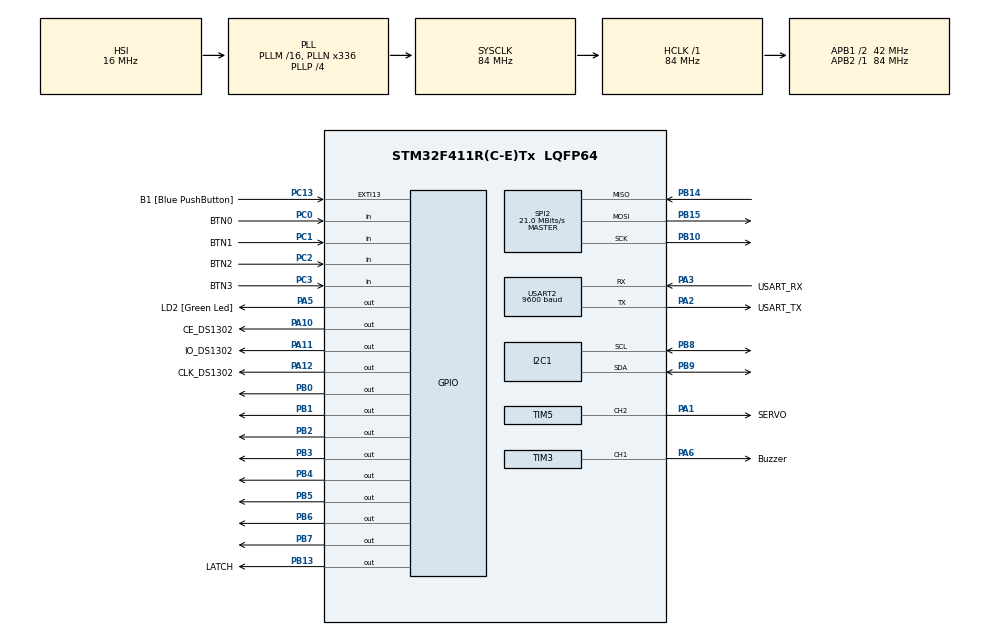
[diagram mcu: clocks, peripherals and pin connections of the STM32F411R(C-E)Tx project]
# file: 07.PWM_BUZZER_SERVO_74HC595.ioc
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FREERTOS.Tasks01=defaultTask,24,128,StartDefaultTask,Default,NULL,Dynamic,NULL,NULL;myTask02,8,128,StartTask02,Default,NULL,Dynamic,NULL,NULL;myTask03,8,128,StartTask03,Default,NULL,Dynamic,NULL,NULL
FREERTOS.configUSE_NEWLIB_REENTRANT=1
Mcu.Family=STM32F4
Mcu.Name=STM32F411R(C-E)Tx
Mcu.Package=LQFP64
NVIC.PriorityGroup=NVIC_PRIORITYGROUP_4
NVIC.TIM1_TRG_COM_TIM11_IRQn=true\:5\:0\:false\:false\:true\:true\:true\:true
NVIC.TIM1_UP_TIM10_IRQn=true\:15\:0\:false\:false\:true\:false\:false\:true
NVIC.TIM3_IRQn=true\:5\:0\:false\:false\:true\:true\:true\:true
NVIC.TIM5_IRQn=true\:5\:0\:false\:false\:true\:true\:true\:true
NVIC.TimeBase=TIM1_UP_TIM10_IRQn
NVIC.TimeBaseIP=TIM10
NVIC.USART2_IRQn=true\:5\:0\:false\:false\:true\:true\:true\:true
PA1.GPIO_Label=SERVO
PA1.Signal=S_TIM5_CH2
PA10.GPIO_Label=CE_DS1302
PA10.Signal=GPIO_Output
PA11.GPIO_Label=IO_DS1302
PA11.Signal=GPIO_Output
PA12.GPIO_Label=CLK_DS1302
PA12.Signal=GPIO_Output
PA13.GPIO_Label=TMS
PA13.Mode=Serial_Wire
PA13.Signal=SYS_JTMS-SWDIO
PA14.GPIO_Label=TCK
PA14.Mode=Serial_Wire
PA14.Signal=SYS_JTCK-SWCLK
PA2.GPIO_Label=USART_TX
PA2.Mode=Asynchronous
PA2.Signal=USART2_TX
PA3.GPIO_Label=USART_RX
PA3.Mode=Asynchronous
PA3.Signal=USART2_RX
PA5.GPIO_Label=LD2 [Green Led]
PA5.Signal=GPIO_Output
PA6.GPIO_Label=Buzzer
PA6.Signal=S_TIM3_CH1
PB0.Signal=GPIO_Output
PB1.Signal=GPIO_Output
PB10.Mode=Full_Duplex_Master
PB10.Signal=SPI2_SCK
PB13.GPIO_Label=LATCH
PB13.Signal=GPIO_Output
PB14.Mode=Full_Duplex_Master
PB14.Signal=SPI2_MISO
PB15.Mode=Full_Duplex_Master
PB15.Signal=SPI2_MOSI
PB2.Signal=GPIO_Output
PB3.Signal=GPIO_Output
PB4.Signal=GPIO_Output
PB5.Signal=GPIO_Output
PB6.Signal=GPIO_Output
PB7.Signal=GPIO_Output
PB8.Mode=I2C
PB8.Signal=I2C1_SCL
PB9.Mode=I2C
PB9.Signal=I2C1_SDA
PC0.GPIO_Label=BTN0
PC0.Signal=GPIO_Input
PC1.GPIO_Label=BTN1
PC1.Signal=GPIO_Input
PC13-ANTI_TAMP.GPIO_Label=B1 [Blue PushButton]
PC13-ANTI_TAMP.GPIO_ModeDefaultEXTI=GPIO_MODE_IT_FALLING
PC13-ANTI_TAMP.Signal=GPXTI13
PC14-OSC32_IN.Mode=LSE-External-Oscillator
PC14-OSC32_IN.Signal=RCC_OSC32_IN
PC15-OSC32_OUT.Mode=LSE-External-Oscillator
PC15-OSC32_OUT.Signal=RCC_OSC32_OUT
PC2.GPIO_Label=BTN2
PC2.Signal=GPIO_Input
PC3.GPIO_Label=BTN3
PC3.Signal=GPIO_Input
PH0\ -\ OSC_IN.Mode=HSE-External-Clock-Source
PH0\ -\ OSC_IN.Signal=RCC_OSC_IN
PH1\ -\ OSC_OUT.Mode=HSE-External-Clock-Source
PH1\ -\ OSC_OUT.Signal=RCC_OSC_OUT
ProjectManager.HeapSize=0x200
ProjectManager.StackSize=0x400
ProjectManager.TargetToolchain=STM32CubeIDE
RCC.48MHZClocksFreq_Value=84000000
RCC.AHBFreq_Value=84000000
RCC.APB1CLKDivider=RCC_HCLK_DIV2
RCC.APB1Freq_Value=42000000
RCC.APB1TimFreq_Value=84000000
RCC.APB2Freq_Value=84000000
RCC.APB2TimFreq_Value=84000000
RCC.CortexFreq_Value=84000000
RCC.FLatency-AdvancedSettings=FLASH_LATENCY_2
RCC.HCLKFreq_Value=84000000
RCC.HSE_VALUE=8000000
RCC.HSI_VALUE=16000000
RCC.PLLN=336
RCC.PLLP=RCC_PLLP_DIV4
RCC.SYSCLKFreq_VALUE=84000000
RCC.SYSCLKSource=RCC_SYSCLKSOURCE_PLLCLK
RCC.VCOOutputFreq_Value=336000000
SH.S_TIM3_CH1.0=TIM3_CH1,PWM Generation1 CH1
SH.S_TIM5_CH2.0=TIM5_CH2,PWM Generation2 CH2
SPI2.CalculateBaudRate=21.0 MBits/s
SPI2.Direction=SPI_DIRECTION_2LINES
SPI2.Mode=SPI_MODE_MASTER
SPI2.VirtualType=VM_MASTER
TIM11.Period=1000-1
TIM11.Prescaler=84-1
TIM2.Prescaler=84-1
TIM3.Channel-PWM\ Generation1\ CH1=TIM_CHANNEL_1
TIM3.Period=400-1
TIM3.Prescaler=52.5-1
TIM3.Pulse-PWM\ Generation1\ CH1=200-1
TIM5.Channel-PWM\ Generation2\ CH2=TIM_CHANNEL_2
TIM5.Period=1000-1
TIM5.Prescaler=1680-1
USART2.BaudRate=9600
USART2.VirtualMode=VM_ASYNC
VP_FREERTOS_VS_CMSIS_V2.Mode=CMSIS_V2
VP_SYS_VS_tim10.Mode=TIM10
VP_TIM11_VS_ClockSourceINT.Mode=Enable_Timer
VP_TIM2_VS_ClockSourceINT.Mode=Internal
VP_TIM3_VS_ClockSourceINT.Mode=Internal
VP_TIM5_VS_ClockSourceINT.Mode=Internal
board=NUCLEO-F411RE

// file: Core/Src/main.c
/* USER CODE BEGIN Header */
/**
  ******************************************************************************
  * @file           : main.c
  * @brief          : Main program body
  ******************************************************************************
  * @attention
  *
  * <h2><center>&copy; Copyright (c) 2025 STMicroelectronics.
  * All rights reserved.</center></h2>
  *
  * This software component is licensed by ST under BSD 3-Clause license,
  * the "License"; You may not use this file except in compliance with the
  * License. You may obtain a copy of the License at:
  *                        opensource.org/licenses/BSD-3-Clause
  *
  ******************************************************************************
  */
/* USER CODE END Header */
#include "main.h"
#include "cmsis_os.h"

/* USER CODE BEGIN Includes */
#include "extern.h"
/* USER CODE END Includes */

I2C_HandleTypeDef hi2c1;

SPI_HandleTypeDef hspi2;

TIM_HandleTypeDef htim2;
TIM_HandleTypeDef htim3;
TIM_HandleTypeDef htim5;
TIM_HandleTypeDef htim11;

UART_HandleTypeDef huart2;

/* Definitions for defaultTask */
osThreadId_t defaultTaskHandle;
const osThreadAttr_t defaultTask_attributes = {
  .name = "defaultTask",
  .stack_size = 128 * 4,
  .priority = (osPriority_t) osPriorityNormal,
};
/* Definitions for myTask02 */
osThreadId_t myTask02Handle;
const osThreadAttr_t myTask02_attributes = {
  .name = "myTask02",
  .stack_size = 128 * 4,
  .priority = (osPriority_t) osPriorityLow,
};
/* Definitions for myTask03 */
osThreadId_t myTask03Handle;
const osThreadAttr_t myTask03_attributes = {
  .name = "myTask03",
  .stack_size = 128 * 4,
  .priority = (osPriority_t) osPriorityLow,
};
/* USER CODE BEGIN PV */
uint8_t rx_data; //uart2 rx byte
volatile int TIM11_1ms_counter = 0;
volatile int TIM11_1ms_counter2 = 0;
/* USER CODE END PV */

void SystemClock_Config(void);
static void MX_GPIO_Init(void);
static void MX_USART2_UART_Init(void);
static void MX_TIM11_Init(void);
static void MX_TIM2_Init(void);
static void MX_I2C1_Init(void);
static void MX_TIM3_Init(void);
static void MX_TIM5_Init(void);
static void MX_SPI2_Init(void);
void StartDefaultTask(void *argument);
void StartTask02(void *argument);
void StartTask03(void *argument);

/* USER CODE BEGIN 0 */

#ifdef __GNUC__    // Add for printf
/* With GCC, small printf (option LD Linker->Libraries->Small printf
   set to 'Yes') calls __io_putchar() */
#define PUTCHAR_PROTOTYPE int __io_putchar(int ch)
#else
#define PUTCHAR_PROTOTYPE int fputc(int ch, FILE *f)
#endif /* __GNUC__ */
/**
  * @brief  Retargets the C library printf function to the USART.
  * @param  None
  * @retval None
  */
PUTCHAR_PROTOTYPE   // Add for printf
{
  /* Place your implementation of fputc here */
  /* e.g. write a character to the USART3 and Loop until the end of transmission */
  HAL_UART_Transmit(&huart2, (uint8_t *)&ch, 1, 0xFFFF);

  return ch;
}
/* USER CODE END 0 */

int main(void)
{

  /* MCU Configuration--------------------------------------------------------*/

  /* Reset of all peripherals, Initializes the Flash interface and the Systick. */
  HAL_Init();

  /* Configure the system clock */
  SystemClock_Config();

  /* Initialize all configured peripherals */
  MX_GPIO_Init();
  MX_USART2_UART_Init();
  MX_TIM11_Init();
  MX_TIM2_Init();
  MX_I2C1_Init();
  MX_TIM3_Init();
  MX_TIM5_Init();
  MX_SPI2_Init();
  /* USER CODE BEGIN 2 */
  HAL_UART_Receive_IT(&huart2, &rx_data, 1);
  HAL_TIM_Base_Start_IT(&htim11);
  HAL_TIM_Base_Start_IT(&htim2);  //for make delay_us
  led_main();
  //i2c_lcd_main();
  //ds1302_main();
  //buzzer_main();
  //servo_motor_main();
  /* USER CODE END 2 */

  /* Init scheduler */
  osKernelInitialize();

  /* Create the thread(s) */
  /* creation of defaultTask */
  defaultTaskHandle = osThreadNew(StartDefaultTask, NULL, &defaultTask_attributes);

  /* creation of myTask02 */
  myTask02Handle = osThreadNew(StartTask02, NULL, &myTask02_attributes);

  /* creation of myTask03 */
  myTask03Handle = osThreadNew(StartTask03, NULL, &myTask03_attributes);

  /* Start scheduler */
  osKernelStart();

  /* We should never get here as control is now taken by the scheduler */
  /* Infinite loop */
  /* USER CODE BEGIN WHILE */
  while (1)
  {
	  button_led_toggle_test();
    /* USER CODE END WHILE */

  }
}

void SystemClock_Config(void)
{
  RCC_OscInitTypeDef RCC_OscInitStruct = {0};
  RCC_ClkInitTypeDef RCC_ClkInitStruct = {0};

  /** Configure the main internal regulator output voltage
  */
  __HAL_RCC_PWR_CLK_ENABLE();
  __HAL_PWR_VOLTAGESCALING_CONFIG(PWR_REGULATOR_VOLTAGE_SCALE1);
  /** Initializes the RCC Oscillators according to the specified parameters
  * in the RCC_OscInitTypeDef structure.
  */
  RCC_OscInitStruct.OscillatorType = RCC_OSCILLATORTYPE_HSI;
  RCC_OscInitStruct.HSIState = RCC_HSI_ON;
  RCC_OscInitStruct.HSICalibrationValue = RCC_HSICALIBRATION_DEFAULT;
  RCC_OscInitStruct.PLL.PLLState = RCC_PLL_ON;
  RCC_OscInitStruct.PLL.PLLSource = RCC_PLLSOURCE_HSI;
  RCC_OscInitStruct.PLL.PLLM = 16;
  RCC_OscInitStruct.PLL.PLLN = 336;
  RCC_OscInitStruct.PLL.PLLP = RCC_PLLP_DIV4;
  RCC_OscInitStruct.PLL.PLLQ = 4;
  if (HAL_RCC_OscConfig(&RCC_OscInitStruct) != HAL_OK)
  {
    Error_Handler();
  }
  /** Initializes the CPU, AHB and APB buses clocks
  */
  RCC_ClkInitStruct.ClockType = RCC_CLOCKTYPE_HCLK|RCC_CLOCKTYPE_SYSCLK
                              |RCC_CLOCKTYPE_PCLK1|RCC_CLOCKTYPE_PCLK2;
  RCC_ClkInitStruct.SYSCLKSource = RCC_SYSCLKSOURCE_PLLCLK;
  RCC_ClkInitStruct.AHBCLKDivider = RCC_SYSCLK_DIV1;
  RCC_ClkInitStruct.APB1CLKDivider = RCC_HCLK_DIV2;
  RCC_ClkInitStruct.APB2CLKDivider = RCC_HCLK_DIV1;

  if (HAL_RCC_ClockConfig(&RCC_ClkInitStruct, FLASH_LATENCY_2) != HAL_OK)
  {
    Error_Handler();
  }
}

static void MX_I2C1_Init(void)
{

  hi2c1.Instance = I2C1;
  hi2c1.Init.ClockSpeed = 100000;
  hi2c1.Init.DutyCycle = I2C_DUTYCYCLE_2;
  hi2c1.Init.OwnAddress1 = 0;
  hi2c1.Init.AddressingMode = I2C_ADDRESSINGMODE_7BIT;
  hi2c1.Init.DualAddressMode = I2C_DUALADDRESS_DISABLE;
  hi2c1.Init.OwnAddress2 = 0;
  hi2c1.Init.GeneralCallMode = I2C_GENERALCALL_DISABLE;
  hi2c1.Init.NoStretchMode = I2C_NOSTRETCH_DISABLE;
  if (HAL_I2C_Init(&hi2c1) != HAL_OK)
  {
    Error_Handler();
  }

}

static void MX_SPI2_Init(void)
{

  /* SPI2 parameter configuration*/
  hspi2.Instance = SPI2;
  hspi2.Init.Mode = SPI_MODE_MASTER;
  hspi2.Init.Direction = SPI_DIRECTION_2LINES;
  hspi2.Init.DataSize = SPI_DATASIZE_8BIT;
  hspi2.Init.CLKPolarity = SPI_POLARITY_LOW;
  hspi2.Init.CLKPhase = SPI_PHASE_1EDGE;
  hspi2.Init.NSS = SPI_NSS_SOFT;
  hspi2.Init.BaudRatePrescaler = SPI_BAUDRATEPRESCALER_2;
  hspi2.Init.FirstBit = SPI_FIRSTBIT_MSB;
  hspi2.Init.TIMode = SPI_TIMODE_DISABLE;
  hspi2.Init.CRCCalculation = SPI_CRCCALCULATION_DISABLE;
  hspi2.Init.CRCPolynomial = 10;
  if (HAL_SPI_Init(&hspi2) != HAL_OK)
  {
    Error_Handler();
  }

}

static void MX_TIM2_Init(void)
{

  TIM_ClockConfigTypeDef sClockSourceConfig = {0};
  TIM_MasterConfigTypeDef sMasterConfig = {0};

  htim2.Instance = TIM2;
  htim2.Init.Prescaler = 84-1;
  htim2.Init.CounterMode = TIM_COUNTERMODE_UP;
  htim2.Init.Period = 4294967295;
  htim2.Init.ClockDivision = TIM_CLOCKDIVISION_DIV1;
  htim2.Init.AutoReloadPreload = TIM_AUTORELOAD_PRELOAD_DISABLE;
  if (HAL_TIM_Base_Init(&htim2) != HAL_OK)
  {
    Error_Handler();
  }
  sClockSourceConfig.ClockSource = TIM_CLOCKSOURCE_INTERNAL;
  if (HAL_TIM_ConfigClockSource(&htim2, &sClockSourceConfig) != HAL_OK)
  {
    Error_Handler();
  }
  sMasterConfig.MasterOutputTrigger = TIM_TRGO_RESET;
  sMasterConfig.MasterSlaveMode = TIM_MASTERSLAVEMODE_DISABLE;
  if (HAL_TIMEx_MasterConfigSynchronization(&htim2, &sMasterConfig) != HAL_OK)
  {
    Error_Handler();
  }

}

static void MX_TIM3_Init(void)
{

  TIM_ClockConfigTypeDef sClockSourceConfig = {0};
  TIM_MasterConfigTypeDef sMasterConfig = {0};
  TIM_OC_InitTypeDef sConfigOC = {0};

  htim3.Instance = TIM3;
  htim3.Init.Prescaler = 52.5-1;
  htim3.Init.CounterMode = TIM_COUNTERMODE_UP;
  htim3.Init.Period = 400-1;
  htim3.Init.ClockDivision = TIM_CLOCKDIVISION_DIV1;
  htim3.Init.AutoReloadPreload = TIM_AUTORELOAD_PRELOAD_DISABLE;
  if (HAL_TIM_Base_Init(&htim3) != HAL_OK)
  {
    Error_Handler();
  }
  sClockSourceConfig.ClockSource = TIM_CLOCKSOURCE_INTERNAL;
  if (HAL_TIM_ConfigClockSource(&htim3, &sClockSourceConfig) != HAL_OK)
  {
    Error_Handler();
  }
  if (HAL_TIM_PWM_Init(&htim3) != HAL_OK)
  {
    Error_Handler();
  }
  sMasterConfig.MasterOutputTrigger = TIM_TRGO_RESET;
  sMasterConfig.MasterSlaveMode = TIM_MASTERSLAVEMODE_DISABLE;
  if (HAL_TIMEx_MasterConfigSynchronization(&htim3, &sMasterConfig) != HAL_OK)
  {
    Error_Handler();
  }
  sConfigOC.OCMode = TIM_OCMODE_PWM1;
  sConfigOC.Pulse = 200-1;
  sConfigOC.OCPolarity = TIM_OCPOLARITY_HIGH;
  sConfigOC.OCFastMode = TIM_OCFAST_DISABLE;
  if (HAL_TIM_PWM_ConfigChannel(&htim3, &sConfigOC, TIM_CHANNEL_1) != HAL_OK)
  {
    Error_Handler();
  }
  HAL_TIM_MspPostInit(&htim3);

}

static void MX_TIM5_Init(void)
{

  TIM_ClockConfigTypeDef sClockSourceConfig = {0};
  TIM_MasterConfigTypeDef sMasterConfig = {0};
  TIM_OC_InitTypeDef sConfigOC = {0};

  htim5.Instance = TIM5;
  htim5.Init.Prescaler = 1680-1;
  htim5.Init.CounterMode = TIM_COUNTERMODE_UP;
  htim5.Init.Period = 1000-1;
  htim5.Init.ClockDivision = TIM_CLOCKDIVISION_DIV1;
  htim5.Init.AutoReloadPreload = TIM_AUTORELOAD_PRELOAD_DISABLE;
  if (HAL_TIM_Base_Init(&htim5) != HAL_OK)
  {
    Error_Handler();
  }
  sClockSourceConfig.ClockSource = TIM_CLOCKSOURCE_INTERNAL;
  if (HAL_TIM_ConfigClockSource(&htim5, &sClockSourceConfig) != HAL_OK)
  {
    Error_Handler();
  }
  if (HAL_TIM_PWM_Init(&htim5) != HAL_OK)
  {
    Error_Handler();
  }
  sMasterConfig.MasterOutputTrigger = TIM_TRGO_RESET;
  sMasterConfig.MasterSlaveMode = TIM_MASTERSLAVEMODE_DISABLE;
  if (HAL_TIMEx_MasterConfigSynchronization(&htim5, &sMasterConfig) != HAL_OK)
  {
    Error_Handler();
  }
  sConfigOC.OCMode = TIM_OCMODE_PWM1;
  sConfigOC.Pulse = 0;
  sConfigOC.OCPolarity = TIM_OCPOLARITY_HIGH;
  sConfigOC.OCFastMode = TIM_OCFAST_DISABLE;
  if (HAL_TIM_PWM_ConfigChannel(&htim5, &sConfigOC, TIM_CHANNEL_2) != HAL_OK)
  {
    Error_Handler();
  }
  HAL_TIM_MspPostInit(&htim5);

}

static void MX_TIM11_Init(void)
{

  htim11.Instance = TIM11;
  htim11.Init.Prescaler = 84-1;
  htim11.Init.CounterMode = TIM_COUNTERMODE_UP;
  htim11.Init.Period = 1000-1;
  htim11.Init.ClockDivision = TIM_CLOCKDIVISION_DIV1;
  htim11.Init.AutoReloadPreload = TIM_AUTORELOAD_PRELOAD_DISABLE;
  if (HAL_TIM_Base_Init(&htim11) != HAL_OK)
  {
    Error_Handler();
  }

}

static void MX_USART2_UART_Init(void)
{

  huart2.Instance = USART2;
  huart2.Init.BaudRate = 9600;
  huart2.Init.WordLength = UART_WORDLENGTH_8B;
  huart2.Init.StopBits = UART_STOPBITS_1;
  huart2.Init.Parity = UART_PARITY_NONE;
  huart2.Init.Mode = UART_MODE_TX_RX;
  huart2.Init.HwFlowCtl = UART_HWCONTROL_NONE;
  huart2.Init.OverSampling = UART_OVERSAMPLING_16;
  if (HAL_UART_Init(&huart2) != HAL_OK)
  {
    Error_Handler();
  }

}

static void MX_GPIO_Init(void)
{
  GPIO_InitTypeDef GPIO_InitStruct = {0};

  /* GPIO Ports Clock Enable */
  __HAL_RCC_GPIOC_CLK_ENABLE();
  __HAL_RCC_GPIOH_CLK_ENABLE();
  __HAL_RCC_GPIOA_CLK_ENABLE();
  __HAL_RCC_GPIOB_CLK_ENABLE();

  /*Configure GPIO pin Output Level */
  HAL_GPIO_WritePin(GPIOA, LD2_Pin|CE_DS1302_Pin|IO_DS1302_Pin|CLK_DS1302_Pin, GPIO_PIN_RESET);

  /*Configure GPIO pin Output Level */
  HAL_GPIO_WritePin(GPIOB, GPIO_PIN_0|GPIO_PIN_1|GPIO_PIN_2|LATCH_Pin
                          |GPIO_PIN_3|GPIO_PIN_4|GPIO_PIN_5|GPIO_PIN_6
                          |GPIO_PIN_7, GPIO_PIN_RESET);

  /*Configure GPIO pin : B1_Pin */
  GPIO_InitStruct.Pin = B1_Pin;
  GPIO_InitStruct.Mode = GPIO_MODE_IT_FALLING;
  GPIO_InitStruct.Pull = GPIO_NOPULL;
  HAL_GPIO_Init(B1_GPIO_Port, &GPIO_InitStruct);

  /*Configure GPIO pins : BTN0_Pin BTN1_Pin BTN2_Pin BTN3_Pin */
  GPIO_InitStruct.Pin = BTN0_Pin|BTN1_Pin|BTN2_Pin|BTN3_Pin;
  GPIO_InitStruct.Mode = GPIO_MODE_INPUT;
  GPIO_InitStruct.Pull = GPIO_NOPULL;
  HAL_GPIO_Init(GPIOC, &GPIO_InitStruct);

  /*Configure GPIO pins : LD2_Pin CE_DS1302_Pin IO_DS1302_Pin CLK_DS1302_Pin */
  GPIO_InitStruct.Pin = LD2_Pin|CE_DS1302_Pin|IO_DS1302_Pin|CLK_DS1302_Pin;
  GPIO_InitStruct.Mode = GPIO_MODE_OUTPUT_PP;
  GPIO_InitStruct.Pull = GPIO_NOPULL;
  GPIO_InitStruct.Speed = GPIO_SPEED_FREQ_LOW;
  HAL_GPIO_Init(GPIOA, &GPIO_InitStruct);

  /*Configure GPIO pins : PB0 PB1 PB2 LATCH_Pin
                           PB3 PB4 PB5 PB6
                           PB7 */
  GPIO_InitStruct.Pin = GPIO_PIN_0|GPIO_PIN_1|GPIO_PIN_2|LATCH_Pin
                          |GPIO_PIN_3|GPIO_PIN_4|GPIO_PIN_5|GPIO_PIN_6
                          |GPIO_PIN_7;
  GPIO_InitStruct.Mode = GPIO_MODE_OUTPUT_PP;
  GPIO_InitStruct.Pull = GPIO_NOPULL;
  GPIO_InitStruct.Speed = GPIO_SPEED_FREQ_LOW;
  HAL_GPIO_Init(GPIOB, &GPIO_InitStruct);

}

void StartDefaultTask(void *argument)
{
  /* USER CODE BEGIN 5 */
  /* Infinite loop */
  for(;;)
  {
    HAL_GPIO_TogglePin(GPIOA, GPIO_PIN_5);
    osDelay(50);
  }
  /* USER CODE END 5 */
}

void StartTask02(void *argument)
{
  /* USER CODE BEGIN StartTask02 */
  /* Infinite loop */
  for(;;)
  {
	button_led_toggle_test();
    osDelay(1);
  }
  /* USER CODE END StartTask02 */
}

void StartTask03(void *argument)
{
  for(;;)
  {
	  osDelay(1);
  }
}

void HAL_TIM_PeriodElapsedCallback(TIM_HandleTypeDef *htim)
{
  if (htim->Instance == TIM10) {
    HAL_IncTick();
  }
  /* USER CODE BEGIN Callback 1 */
  if (htim->Instance == TIM11) {
	  TIM11_1ms_counter++;
	  TIM11_1ms_counter2++;
  /* USER CODE END Callback 1 */
}
}

void Error_Handler(void)
{
  __disable_irq();
  while (1)
  {
  }
}

/************************ (C) COPYRIGHT STMicroelectronics *****END OF FILE****/
